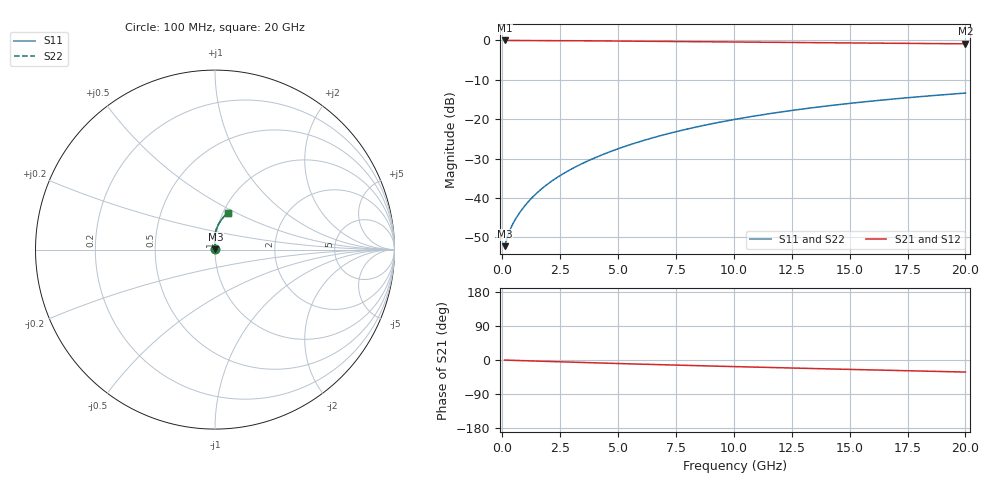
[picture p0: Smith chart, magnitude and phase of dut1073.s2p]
! Touchstone file exported from HFSS 2024.1.0
!  File:  C:/UserFiles/LocalFiles/RDL_TSV_Batchsim/temp_RDL_top_1073_1780045297.aedt
!  Generated:  05:03:38 PM May 29, 2026
!  Design:  RDL_top
!  Project:  temp_RDL_top_1073_1780045297
!  Setup:  Setup1
!  Solution:  Sweep
! Variables:
!  dtsv = 10.80580581um
!  hbump = 3um
!  htsv = 99.37um
!  ldown = 100um
!  lrdl = 512.21um
!  p = 40
!  p1 = 41.31um
!  rhole = 1um
!  t = 450um
!  tdown = 3.915915916um
!  trdl = 3.44um
!  wdown = 15.38538539um
!  wrdl = 26.89um
# GHz S MA R 50.000000
! Terminal data exported
! Port[1] = Box2_T1
! Port[2] = Box2_T2
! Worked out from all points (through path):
!   200 points, 100 MHz to 20 GHz, reference 50 ohm
!   highest |S21| = -0.02 dB at 100 MHz (marker M1); lowest = -0.9 dB at 20 GHz (marker M2)
!   group delay of S21, straight-line fit = 4.36 ps
!   lowest |S11| = -52.2 dB at 100 MHz (marker M3), VSWR 1.00, Z = 50.2 + j0.101 ohm
!   |S11| at or under -10 dB: start of sweep to end of sweep
!   |S22| runs from -52.2 to -13.4 dB; largest |S21 - S12| = 5.1e-15
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0.1  0.002444 24.3  0.9978 -0.2  0.9978 -0.2  0.002444 24.3
! Gamma 0 0 0 0
! Port Impedance 50 0 50 0
0.2  0.003064 38.4  0.9976 -0.4  0.9976 -0.4  0.003064 38.4
0.3  0.003719 46.3  0.9973 -0.6  0.9973 -0.6  0.003719 46.3
0.4  0.004347 51.8  0.9971 -0.8  0.9971 -0.8  0.004347 51.7
0.5  0.004959 56.1  0.997 -1.0  0.997 -1.0  0.004959 56.1
0.8  0.006826 65.7  0.9965 -1.6  0.9965 -1.6  0.006826 65.7
1  0.008133 70.2  0.9962 -1.9  0.9962 -1.9  0.008133 70.2
1.2  0.00949 73.8  0.9958 -2.3  0.9958 -2.3  0.00949 73.8
1.7  0.01307 79.9  0.9947 -3.3  0.9947 -3.3  0.01307 79.9
2.2  0.01687 83.9  0.9934 -4.2  0.9934 -4.2  0.01687 83.9
2.8  0.02172 87.1  0.9913 -5.3  0.9913 -5.3  0.02172 87.1
3.5  0.02776 89.5  0.9885 -6.6  0.9885 -6.6  0.02776 89.5
4.2  0.03423 91.0  0.9853 -7.9  0.9853 -7.9  0.03422 91.0
5  0.04209 91.9  0.9813 -9.3  0.9813 -9.3  0.04208 91.9
5.9  0.05149 92.2  0.9765 -10.8  0.9765 -10.8  0.05147 92.2
6.8  0.06137 91.9  0.9714 -12.4  0.9714 -12.4  0.06134 91.9
8.4  0.07979 90.4  0.9624 -14.9  0.9624 -14.9  0.07975 90.4
10.1  0.1001 88.1  0.953 -17.6  0.953 -17.6  0.1 88.0
11.7  0.1194 85.5  0.9445 -20.0  0.9445 -20.0  0.1193 85.4
13.4  0.1397 82.5  0.9358 -22.5  0.9358 -22.5  0.1397 82.5
16.7  0.1782 76.7  0.9199 -27.2  0.9199 -27.2  0.1781 76.7
20  0.2144 71.0  0.9049 -31.9  0.9049 -31.9  0.2143 71.0
